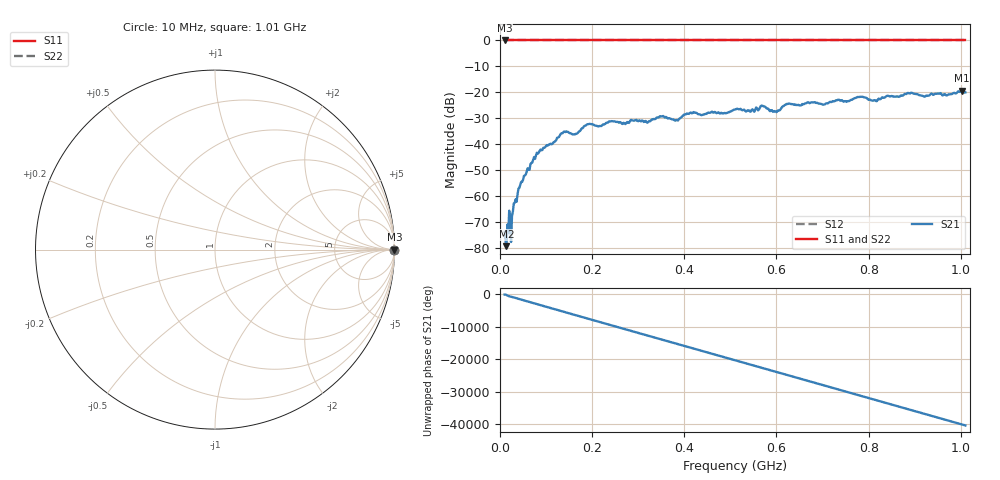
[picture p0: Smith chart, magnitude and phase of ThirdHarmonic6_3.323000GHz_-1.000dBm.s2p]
! 8/17/2025 10:25:09 AM
! C:\ANRITSUVNA\TEMP\TEMP.S2P
! CHANNEL.1
! TR.MEASUREMENT
! RAW.DATA
! RF.CORRECTION.OFF
! AVERAGING.OFF
! IF.BANDWIDTH: 5KHZ
! SWEEPTYPE:  FREQ.SWEEP(Linear)
! Reference Plane Port Info
! PORT:  PORT1  PORT2
! DISTANCE:  0  m  0  m
! TIME:  0  s  0  s
! PHASE.OFFSET:  0  deg.  0  deg.
! LOSS:  0  dB  0  dB
! REF.LOSS:  0  dB  0  dB
! REF.FREQ:  0  Hz  0  Hz
! Power Info
! POWER:  -20  dBm  -20  dBm
! EFF.POWER:  -20  dBm  -20  dBm
! SOURCE.ATTEN:  0  dB  0  dB
! TEST.ATTEN:  0  dB  0  dB
# GHZ S RI R 50.0
! FREQ.GHZ  S11RE  S11IM  S21RE  S21IM  S12RE  S12IM  S22RE  S22IM
!; PortSelection: Port_12
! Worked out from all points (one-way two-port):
!   501 points, 10 MHz to 1.01 GHz, reference 50 ohm
!   highest |S21| = -19.37 dB at 1.002 GHz (marker M1); lowest = -79.4 dB at 14 MHz (marker M2)
!   lowest |S11| = 0.0 dB at 10 MHz (marker M3)
!   |S11| at or under -10 dB: nowhere
!   |S22| runs from 0.0 to 0.0 dB; largest |S21 - S12| = 1.1
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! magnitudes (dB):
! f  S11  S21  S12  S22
! 10 MHz  0.0  -73.8  0.0  0.0
! 14 MHz  0.0  -79.4  0.0  0.0
! 26 MHz  0.0  -67.8  0.0  0.0
! 30 MHz  0.0  -62.8  0.0  0.0
! 44 MHz  0.0  -55.7  0.0  0.0
! 76 MHz  0.0  -45.7  0.0  0.0
! 136 MHz  0.0  -35.8  0.0  0.0
! 162 MHz  0.0  -36.3  0.0  0.0
! 178 MHz  0.0  -33.9  0.0  0.0
! 344 MHz  0.0  -29.7  0.0  0.0
! 382 MHz  0.0  -30.7  0.0  0.0
! 416 MHz  0.0  -28.1  0.0  0.0
! 510 MHz  0.0  -26.6  0.0  0.0
! 570 MHz  0.0  -25.2  0.0  0.0
! 596 MHz  0.0  -27.2  0.0  0.0
! 624 MHz  0.0  -24.5  0.0  0.0
! 678 MHz  0.0  -23.9  0.0  0.0
! 784 MHz  0.0  -21.7  0.0  0.0
! 814 MHz  0.0  -23.1  0.0  0.0
! 844 MHz  0.0  -21.5  0.0  0.0
! 1.002 GHz  0.0  -19.4  0.0  0.0
! 1.01 GHz  0.0  -20.0  0.0  0.0
